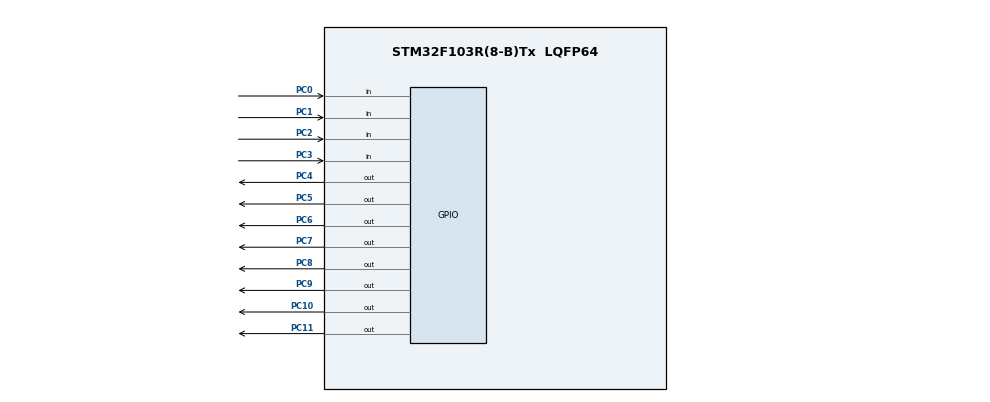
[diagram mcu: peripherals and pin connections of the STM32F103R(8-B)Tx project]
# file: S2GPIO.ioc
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Mcu.Family=STM32F1
Mcu.Name=STM32F103R(8-B)Tx
Mcu.Package=LQFP64
NVIC.PriorityGroup=NVIC_PRIORITYGROUP_4
PA13.Mode=Serial_Wire
PA13.Signal=SYS_JTMS-SWDIO
PA14.Mode=Serial_Wire
PA14.Signal=SYS_JTCK-SWCLK
PC0.GPIO_PuPd=GPIO_PULLUP
PC0.Signal=GPIO_Input
PC1.GPIO_PuPd=GPIO_PULLUP
PC1.Signal=GPIO_Input
PC10.Signal=GPIO_Output
PC11.Signal=GPIO_Output
PC2.GPIO_PuPd=GPIO_PULLUP
PC2.Signal=GPIO_Input
PC3.GPIO_PuPd=GPIO_PULLUP
PC3.Signal=GPIO_Input
PC4.Signal=GPIO_Output
PC5.Signal=GPIO_Output
PC6.Signal=GPIO_Output
PC7.Signal=GPIO_Output
PC8.Signal=GPIO_Output
PC9.Signal=GPIO_Output
ProjectManager.TargetToolchain=SW4STM32
RCC.APB1Freq_Value=8000000
RCC.APB2Freq_Value=8000000
board=S2GPIO

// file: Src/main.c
/**
  ******************************************************************************
  * File Name          : main.c
  * Description        : Main program body
  ******************************************************************************
  *
  * COPYRIGHT(c) 2016 STMicroelectronics
  *
  * Redistribution and use in source and binary forms, with or without modification,
  * are permitted provided that the following conditions are met:
  *   1. Redistributions of source code must retain the above copyright notice,
  *      this list of conditions and the following disclaimer.
  *   2. Redistributions in binary form must reproduce the above copyright notice,
  *      this list of conditions and the following disclaimer in the documentation
  *      and/or other materials provided with the distribution.
  *   3. Neither the name of STMicroelectronics nor the names of its contributors
  *      may be used to endorse or promote products derived from this software
  *      without specific prior written permission.
  *
  * THIS SOFTWARE IS PROVIDED BY THE COPYRIGHT HOLDERS AND CONTRIBUTORS "AS IS"
  * AND ANY EXPRESS OR IMPLIED WARRANTIES, INCLUDING, BUT NOT LIMITED TO, THE
  * IMPLIED WARRANTIES OF MERCHANTABILITY AND FITNESS FOR A PARTICULAR PURPOSE ARE
  * DISCLAIMED. IN NO EVENT SHALL THE COPYRIGHT HOLDER OR CONTRIBUTORS BE LIABLE
  * FOR ANY DIRECT, INDIRECT, INCIDENTAL, SPECIAL, EXEMPLARY, OR CONSEQUENTIAL
  * DAMAGES (INCLUDING, BUT NOT LIMITED TO, PROCUREMENT OF SUBSTITUTE GOODS OR
  * SERVICES; LOSS OF USE, DATA, OR PROFITS; OR BUSINESS INTERRUPTION) HOWEVER
  * CAUSED AND ON ANY THEORY OF LIABILITY, WHETHER IN CONTRACT, STRICT LIABILITY,
  * OR TORT (INCLUDING NEGLIGENCE OR OTHERWISE) ARISING IN ANY WAY OUT OF THE USE
  * OF THIS SOFTWARE, EVEN IF ADVISED OF THE POSSIBILITY OF SUCH DAMAGE.
  *
  ******************************************************************************
  */
#include "stm32f1xx_hal.h"
#include "gpio.h"

/* USER CODE BEGIN Includes */
#define WritePin(x,y,v) HAL_GPIO_WritePin(x,y,v)
#define TogglePin(x,y)  HAL_GPIO_TogglePin(x,y)
#define ReadPin(x,y)    HAL_GPIO_ReadPin(x,y)
/* USER CODE END Includes */

/* USER CODE BEGIN PV */
/* Private variables ---------------------------------------------------------*/

/* USER CODE END PV */

void SystemClock_Config(void);

/* USER CODE BEGIN PFP */
/* Private function prototypes -----------------------------------------------*/

/* USER CODE END PFP */

int main(void)
{

  /* MCU Configuration----------------------------------------------------------*/

  /* Reset of all peripherals, Initializes the Flash interface and the Systick. */
  HAL_Init();

  /* Configure the system clock */
  SystemClock_Config();

  /* Initialize all configured peripherals */
  MX_GPIO_Init();

  /* Infinite loop */
  while (1)
  {

  /* USER CODE BEGIN 3 */
	   TogglePin(GPIOC,GPIO_PIN_4);
	   HAL_Delay(100);
	   TogglePin(GPIOC,GPIO_PIN_5);
	   HAL_Delay(100);
	   TogglePin(GPIOC,GPIO_PIN_6);
	   HAL_Delay(100);
	   TogglePin(GPIOC,GPIO_PIN_7);
	   HAL_Delay(100);
	   TogglePin(GPIOC,GPIO_PIN_8);
	   HAL_Delay(100);
	   TogglePin(GPIOC,GPIO_PIN_9);
	   HAL_Delay(100);
	   TogglePin(GPIOC,GPIO_PIN_10);
	   HAL_Delay(100);
	   TogglePin(GPIOC,GPIO_PIN_11);
	   HAL_Delay(100);
  }
  /* USER CODE END 3 */

}

/** System Clock Configuration
*/
void SystemClock_Config(void)
{

  RCC_OscInitTypeDef RCC_OscInitStruct;
  RCC_ClkInitTypeDef RCC_ClkInitStruct;

  RCC_OscInitStruct.OscillatorType = RCC_OSCILLATORTYPE_HSI;
  RCC_OscInitStruct.HSIState = RCC_HSI_ON;
  RCC_OscInitStruct.HSICalibrationValue = 16;
  RCC_OscInitStruct.PLL.PLLState = RCC_PLL_NONE;
  HAL_RCC_OscConfig(&RCC_OscInitStruct);

  RCC_ClkInitStruct.ClockType = RCC_CLOCKTYPE_SYSCLK;
  RCC_ClkInitStruct.SYSCLKSource = RCC_SYSCLKSOURCE_HSI;
  RCC_ClkInitStruct.AHBCLKDivider = RCC_SYSCLK_DIV1;
  RCC_ClkInitStruct.APB1CLKDivider = RCC_HCLK_DIV1;
  RCC_ClkInitStruct.APB2CLKDivider = RCC_HCLK_DIV1;
  HAL_RCC_ClockConfig(&RCC_ClkInitStruct, FLASH_LATENCY_0);

  HAL_SYSTICK_Config(HAL_RCC_GetHCLKFreq()/1000);

  HAL_SYSTICK_CLKSourceConfig(SYSTICK_CLKSOURCE_HCLK);

  /* SysTick_IRQn interrupt configuration */
  HAL_NVIC_SetPriority(SysTick_IRQn, 0, 0);
}

/************************ (C) COPYRIGHT STMicroelectronics *****END OF FILE****/
